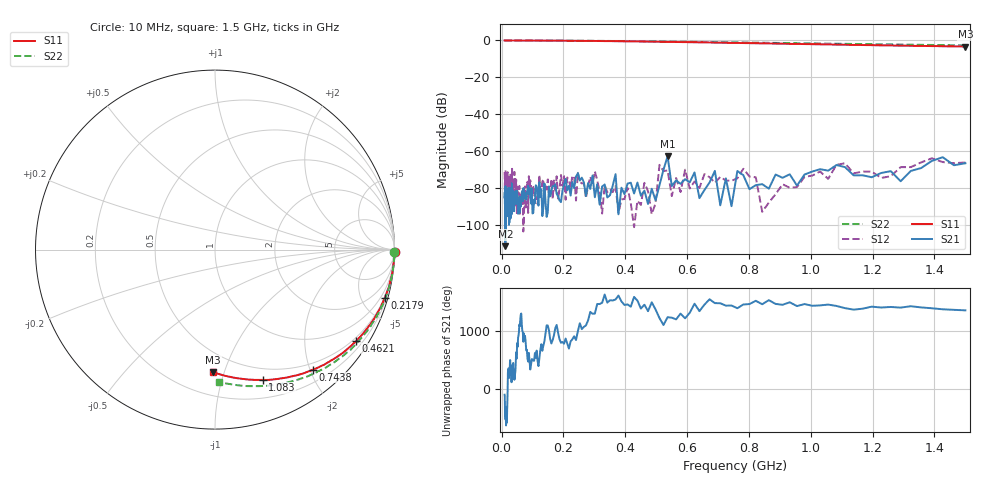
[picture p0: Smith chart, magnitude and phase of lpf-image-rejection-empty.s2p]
! 9/8/2020 8:56:59 PM
! Z:\GIS_P0\EMPTY-FILTERPCB.S2P
! CHANNEL.1
! TR.MEASUREMENT
! CORRECTED.DATA
# GHZ S RI R 50.0
! FREQ.GHZ  S11RE  S11IM  S21RE  S21IM  S12RE  S12IM  S22RE  S22IM
!; PortSelection: Port_12
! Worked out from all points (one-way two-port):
!   201 points, 10 MHz to 1.5 GHz, reference 50 ohm
!   highest |S21| = -62.72 dB at 537 MHz (marker M1); lowest = -111.4 dB at 12.53 MHz (marker M2)
!   lowest |S11| = -3.3 dB at 1.5 GHz (marker M3), VSWR 5.33, Z = 17.9 - j46 ohm
!   |S11| at or under -10 dB: nowhere
!   |S22| runs from -2.6 to 0.0 dB; largest |S21 - S12| = 0.00051
!   S11 on the Smith chart (normalised r, x): 10 MHz: open; 217.9 MHz: 0.44, -7.12; 462.1 MHz: 0.40, -3.34; 743.8 MHz: 0.39, -2.05; 1.083 GHz: 0.38, -1.36; 1.5 GHz: 0.36, -0.92
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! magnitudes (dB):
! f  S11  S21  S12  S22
! 10 MHz  0.0  -82.7  -71.3  0.0
! 12.53 MHz  0.0  -111.4  -78.0  0.0
! 33.29 MHz  0.0  -77.3  -85.9  0.0
! 34.13 MHz  0.0  -84.9  -69.5  0.0
! 35 MHz  0.0  -83.5  -81.9  0.0
! 41.7 MHz  0.0  -82.5  -71.2  0.0
! 217.9 MHz  -0.1  -78.7  -75.6  -0.1
! 259.7 MHz  -0.2  -74.3  -77.4  -0.2
! 462.1 MHz  -0.6  -81.3  -77.1  -0.4
! 498.1 MHz  -0.6  -86.6  -88.2  -0.5
! 510.8 MHz  -0.7  -78.3  -67.3  -0.5
! 537 MHz  -0.7  -62.7  -70.4  -0.5
! 550.6 MHz  -0.8  -78.8  -84.3  -0.6
! 593.6 MHz  -0.9  -75.1  -70.0  -0.7
! 608.7 MHz  -0.9  -76.8  -80.2  -0.7
! 743.8 MHz  -1.3  -89.8  -76.0  -1.0
! 762.6 MHz  -1.3  -70.7  -74.7  -1.0
! 801.8 MHz  -1.4  -80.6  -73.7  -1.1
! 1.005 GHz  -2.0  -71.0  -73.2  -1.6
! 1.083 GHz  -2.2  -67.5  -67.4  -1.8
! 1.259 GHz  -2.7  -70.8  -73.5  -2.1
! 1.5 GHz  -3.3  -66.5  -66.1  -2.6
